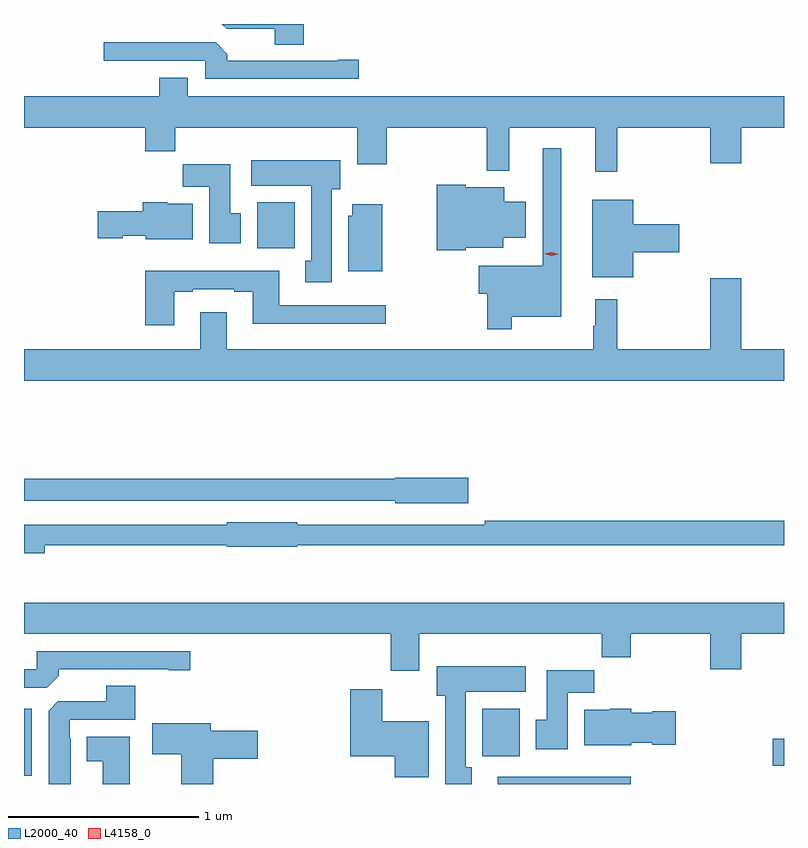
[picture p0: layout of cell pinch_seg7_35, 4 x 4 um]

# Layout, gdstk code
import gdstk
lib = gdstk.Library(unit=1e-6, precision=1e-09)
def R(c, l, rs):  # rectangles x0, y0, x1, y1
    for r in rs: c.add(gdstk.rectangle(r[:2], r[2:], *l))
def P(c, l, *ps):  # polygons
    for p in ps: c.add(gdstk.Polygon(p, *l))
L2000_40 = (2000, 40)
L4158_0 = (4158, 0)

pinch_seg7_35 = lib.new_cell('pinch_seg7_35')
R(pinch_seg7_35, L2000_40, [(1051.001,1050.441,1051.701,1050.478), (1048.508,1050.485,1048.549,1050.838), (1052.448,1050.538,1052.508,1050.68), (1050.921,1050.588,1051.117,1050.838), (1049.735,1053.26,1049.932,1053.502)])
P(pinch_seg7_35, L2000_40, [(1049.981,1054.441),(1049.549,1054.441),(1049.574,1054.416),(1049.828,1054.416),(1049.828,1054.333),(1049.981,1054.333)],
  [(1050.271,1054.253),(1050.158,1054.253),(1050.158,1054.248),(1049.579,1054.248),(1049.579,1054.282),(1049.517,1054.344),(1048.929,1054.344),(1048.929,1054.248),(1049.463,1054.248),(1049.463,1054.152),(1050.271,1054.152)],
  [(1049.219,1054.159),(1049.219,1054.06),(1048.508,1054.06),(1048.508,1053.896),(1049.147,1053.896),(1049.147,1053.772),(1049.303,1053.772),(1049.303,1053.896),(1050.263,1053.896),(1050.263,1053.702),(1050.416,1053.702),(1050.416,1053.896),(1050.943,1053.896),(1050.943,1053.668),(1051.061,1053.668),(1051.061,1053.896),(1051.514,1053.896),(1051.514,1053.663),(1051.631,1053.663),(1051.631,1053.896),(1052.12,1053.896),(1052.12,1053.708),(1052.284,1053.708),(1052.284,1053.896),(1052.508,1053.896),(1052.508,1054.06),(1049.371,1054.06),(1049.371,1054.159)],
  [(1051.075,1052.9),(1051.336,1052.9),(1051.336,1053.787),(1051.239,1053.787),(1051.239,1053.169),(1050.902,1053.169),(1050.902,1053.022),(1050.946,1053.022),(1050.946,1052.835),(1051.075,1052.835)],
  [(1050.127,1053.57),(1050.172,1053.57),(1050.172,1053.724),(1049.703,1053.724),(1049.703,1053.59),(1050.02,1053.59),(1050.02,1053.194),(1049.987,1053.194),(1049.987,1053.081),(1050.127,1053.081)],
  [(1049.65,1053.444),(1049.593,1053.444),(1049.593,1053.703),(1049.344,1053.703),(1049.344,1053.584),(1049.483,1053.584),(1049.483,1053.288),(1049.65,1053.288)],
  [(1050.834,1053.263),(1051.03,1053.263),(1051.03,1053.317),(1051.15,1053.317),(1051.15,1053.505),(1051.036,1053.505),(1051.036,1053.583),(1050.834,1053.583),(1050.834,1053.595),(1050.68,1053.595),(1050.68,1053.251),(1050.834,1053.251)],
  [(1051.714,1053.239),(1051.957,1053.239),(1051.957,1053.386),(1051.714,1053.386),(1051.714,1053.517),(1051.499,1053.517),(1051.499,1053.107),(1051.714,1053.107)],
  [(1049.395,1053.496),(1049.262,1053.496),(1049.262,1053.502),(1049.132,1053.502),(1049.132,1053.456),(1048.896,1053.456),(1048.896,1053.314),(1049.028,1053.314),(1049.028,1053.326),(1049.148,1053.326),(1049.148,1053.308),(1049.395,1053.308)],
  [(1050.394,1053.493),(1050.236,1053.493),(1050.236,1053.432),(1050.215,1053.432),(1050.215,1053.14),(1050.394,1053.14)],
  [(1049.299,1053.033),(1049.395,1053.033),(1049.395,1053.045),(1049.615,1053.045),(1049.615,1053.033),(1049.711,1053.033),(1049.711,1052.864),(1050.412,1052.864),(1050.412,1052.961),(1049.851,1052.961),(1049.851,1053.142),(1049.147,1053.142),(1049.147,1052.856),(1049.299,1052.856)],
  [(1052.508,1052.728),(1052.284,1052.728),(1052.284,1053.103),(1052.12,1053.103),(1052.12,1052.728),(1051.631,1052.728),(1051.631,1052.992),(1051.514,1052.992),(1051.514,1052.852),(1051.503,1052.852),(1051.503,1052.728),(1049.575,1052.728),(1049.575,1052.923),(1049.435,1052.923),(1049.435,1052.728),(1048.508,1052.728),(1048.508,1052.564),(1052.508,1052.564)],
  [(1050.847,1052.054),(1050.462,1052.054),(1050.462,1052.048),(1048.508,1052.048),(1048.508,1051.932),(1050.462,1051.932),(1050.462,1051.919),(1050.847,1051.919)],
  [(1048.618,1051.698),(1049.574,1051.698),(1049.574,1051.69),(1049.946,1051.69),(1049.946,1051.698),(1052.508,1051.698),(1052.508,1051.826),(1050.934,1051.826),(1050.934,1051.806),(1049.946,1051.806),(1049.946,1051.819),(1049.574,1051.819),(1049.574,1051.806),(1048.508,1051.806),(1048.508,1051.655),(1048.618,1051.655)],
  [(1050.589,1051.232),(1051.549,1051.232),(1051.549,1051.108),(1051.701,1051.108),(1051.701,1051.232),(1052.12,1051.232),(1052.12,1051.044),(1052.284,1051.044),(1052.284,1051.232),(1052.508,1051.232),(1052.508,1051.396),(1048.508,1051.396),(1048.508,1051.232),(1050.437,1051.232),(1050.437,1051.038),(1050.589,1051.038)],
  [(1048.691,1051.01),(1048.691,1051.044),(1049.27,1051.044),(1049.27,1051.039),(1049.383,1051.039),(1049.383,1051.14),(1048.575,1051.14),(1048.575,1051.044),(1048.508,1051.044),(1048.508,1050.948),(1048.629,1050.948)],
  [(1050.865,1050.529),(1050.832,1050.529),(1050.832,1050.926),(1051.15,1050.926),(1051.15,1051.06),(1050.68,1051.06),(1050.68,1050.906),(1050.725,1050.906),(1050.725,1050.441),(1050.865,1050.441)],
  [(1051.369,1050.92),(1051.508,1050.92),(1051.508,1051.039),(1051.259,1051.039),(1051.259,1050.78),(1051.202,1050.78),(1051.202,1050.624),(1051.369,1050.624)],
  [(1048.753,1050.683),(1048.749,1050.683),(1048.749,1050.78),(1049.093,1050.78),(1049.093,1050.959),(1048.94,1050.959),(1048.94,1050.876),(1048.686,1050.876),(1048.637,1050.827),(1048.637,1050.441),(1048.753,1050.441)],
  [(1050.637,1050.772),(1050.394,1050.772),(1050.394,1050.94),(1050.224,1050.94),(1050.224,1050.587),(1050.458,1050.587),(1050.458,1050.476),(1050.637,1050.476)],
  [(1051.704,1050.659),(1051.815,1050.659),(1051.815,1050.647),(1051.939,1050.647),(1051.939,1050.825),(1051.815,1050.825),(1051.815,1050.817),(1051.704,1050.817),(1051.704,1050.838),(1051.59,1050.838),(1051.59,1050.832),(1051.457,1050.832),(1051.457,1050.644),(1051.704,1050.644)],
  [(1049.504,1050.575),(1049.737,1050.575),(1049.737,1050.722),(1049.491,1050.722),(1049.491,1050.76),(1049.184,1050.76),(1049.184,1050.598),(1049.336,1050.598),(1049.336,1050.441),(1049.504,1050.441)],
  [(1049.065,1050.691),(1048.838,1050.691),(1048.838,1050.56),(1048.922,1050.56),(1048.922,1050.441),(1049.065,1050.441)])
P(pinch_seg7_35, L4158_0, [(1051.284,1053.221),(1051.25,1053.233),(1051.249,1053.233),(1051.25,1053.233),(1051.285,1053.241),(1051.32,1053.23),(1051.32,1053.229),(1051.32,1053.229)])

lib.write_gds('pinch_seg7_35.gds')
